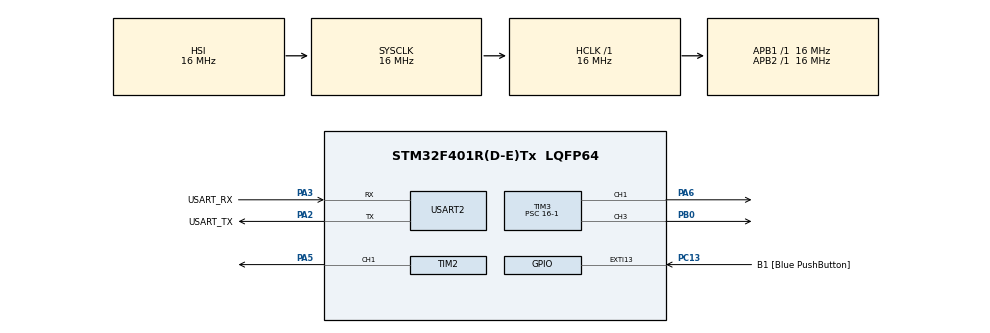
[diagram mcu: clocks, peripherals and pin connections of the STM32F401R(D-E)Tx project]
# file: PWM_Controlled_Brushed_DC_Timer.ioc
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Mcu.Family=STM32F4
Mcu.Name=STM32F401R(D-E)Tx
Mcu.Package=LQFP64
NVIC.PriorityGroup=NVIC_PRIORITYGROUP_4
PA13.GPIO_Label=TMS
PA13.Mode=Trace_Asynchronous_SW
PA13.Signal=SYS_JTMS-SWDIO
PA14.GPIO_Label=TCK
PA14.Mode=Trace_Asynchronous_SW
PA14.Signal=SYS_JTCK-SWCLK
PA2.GPIO_Label=USART_TX
PA2.GPIO_Mode=GPIO_MODE_AF_PP
PA2.GPIO_PuPd=GPIO_NOPULL
PA2.GPIO_Speed=GPIO_SPEED_FREQ_LOW
PA2.Mode=Asynchronous
PA2.Signal=USART2_TX
PA3.GPIO_Label=USART_RX
PA3.GPIO_Mode=GPIO_MODE_AF_PP
PA3.GPIO_PuPd=GPIO_NOPULL
PA3.GPIO_Speed=GPIO_SPEED_FREQ_LOW
PA3.Mode=Asynchronous
PA3.Signal=USART2_RX
PA5.Signal=S_TIM2_CH1_ETR
PA6.Signal=S_TIM3_CH1
PB0.Signal=S_TIM3_CH3
PB3.GPIO_Label=SWO
PB3.Mode=Trace_Asynchronous_SW
PB3.Signal=SYS_JTDO-SWO
PC13-ANTI_TAMP.GPIO_Label=B1 [Blue PushButton]
PC13-ANTI_TAMP.GPIO_ModeDefaultEXTI=GPIO_MODE_IT_FALLING
PC13-ANTI_TAMP.GPIO_PuPd=GPIO_NOPULL
PC13-ANTI_TAMP.Signal=GPXTI13
PC14-OSC32_IN.Mode=LSE-External-Oscillator
PC14-OSC32_IN.Signal=RCC_OSC32_IN
PC15-OSC32_OUT.Mode=LSE-External-Oscillator
PC15-OSC32_OUT.Signal=RCC_OSC32_OUT
PH0\ -\ OSC_IN.Mode=HSE-External-Clock-Source
PH0\ -\ OSC_IN.Signal=RCC_OSC_IN
PH1\ -\ OSC_OUT.Mode=HSE-External-Clock-Source
PH1\ -\ OSC_OUT.Signal=RCC_OSC_OUT
ProjectManager.HeapSize=0x200
ProjectManager.StackSize=0x400
ProjectManager.TargetToolchain=STM32CubeIDE
RCC.48MHZClocksFreq_Value=48000000
RCC.AHBFreq_Value=16000000
RCC.APB1Freq_Value=16000000
RCC.APB1TimFreq_Value=16000000
RCC.APB2Freq_Value=16000000
RCC.APB2TimFreq_Value=16000000
RCC.CortexFreq_Value=16000000
RCC.HCLKFreq_Value=16000000
RCC.HSE_VALUE=8000000
RCC.HSI_VALUE=16000000
RCC.PLLN=336
RCC.PLLP=RCC_PLLP_DIV4
RCC.PLLQ=7
RCC.SYSCLKFreq_VALUE=16000000
RCC.VCOOutputFreq_Value=336000000
SH.S_TIM2_CH1_ETR.0=TIM2_CH1,PWM Generation1 CH1
SH.S_TIM3_CH1.0=TIM3_CH1,PWM Generation1 CH1
SH.S_TIM3_CH3.0=TIM3_CH3,PWM Generation3 CH3
TIM2.AutoReloadPreload=TIM_AUTORELOAD_PRELOAD_ENABLE
TIM2.Channel-PWM\ Generation1\ CH1=TIM_CHANNEL_1
TIM2.Period=500-1
TIM2.Prescaler=16000-1
TIM2.Pulse-PWM\ Generation1\ CH1=250-1
TIM3.AutoReloadPreload=TIM_AUTORELOAD_PRELOAD_ENABLE
TIM3.Channel-PWM\ Generation1\ CH1=TIM_CHANNEL_1
TIM3.Channel-PWM\ Generation3\ CH3=TIM_CHANNEL_3
TIM3.Period=2000-1
TIM3.Prescaler=16-1
TIM3.Pulse-PWM\ Generation1\ CH1=1200-1
USART2.VirtualMode=VM_ASYNC
VP_TIM2_VS_ClockSourceINT.Mode=Internal
VP_TIM3_VS_ClockSourceINT.Mode=Internal
board=NUCLEO-F401RE

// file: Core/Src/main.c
/* USER CODE BEGIN Header */
/**
  ******************************************************************************
  * @file           : main.c
  * @brief          : Main program body
  ******************************************************************************
  * @attention
  *
  * Copyright (c) 2025 STMicroelectronics.
  * All rights reserved.
  *
  * This software is licensed under terms that can be found in the LICENSE file
  * in the root directory of this software component.
  * If no LICENSE file comes with this software, it is provided AS-IS.
  *
  ******************************************************************************
  */
/* USER CODE END Header */
#include "main.h"

TIM_HandleTypeDef htim2;
TIM_HandleTypeDef htim3;

UART_HandleTypeDef huart2;

void SystemClock_Config(void);
static void MX_GPIO_Init(void);
static void MX_USART2_UART_Init(void);
static void MX_TIM2_Init(void);
static void MX_TIM3_Init(void);

int main(void)
{

  /* MCU Configuration--------------------------------------------------------*/

  /* Reset of all peripherals, Initializes the Flash interface and the Systick. */
  HAL_Init();

  /* Configure the system clock */
  SystemClock_Config();

  /* Initialize all configured peripherals */
  MX_GPIO_Init();
  MX_USART2_UART_Init();
  MX_TIM2_Init();
  MX_TIM3_Init();
  /* USER CODE BEGIN 2 */
  HAL_TIM_Base_Init(&htim3);
  HAL_TIM_PWM_Start(&htim3, TIM_CHANNEL_1);
  HAL_TIM_PWM_Start(&htim3, TIM_CHANNEL_3);
  TIM3->PSC = 0;	// PSC register to 0 for no scaling
  TIM3->ARR = 60000;		//ARR register to 60000 for long period (limit of 60000)
  TIM3->CCR1 = 0;
  TIM3->CCR3 = 0;
  int TIM3_CH1_DCVAL = 0;
  int TIM3_CH3_DCVAL = 0;

  /* USER CODE END 2 */

  /* Infinite loop */
  /* USER CODE BEGIN WHILE */
  while (1)
  {
	 while(TIM3_CH1_DCVAL < 60000) {
		 	 TIM3_CH1_DCVAL += (50);
		 	 TIM3->CCR1 = TIM3_CH1_DCVAL;
		 	 HAL_Delay(1);
	 }
	 HAL_Delay(5000);
	 while(TIM3_CH1_DCVAL > 0) {
		 	 TIM3_CH1_DCVAL -= (50);
		 	 TIM3->CCR1 = TIM3_CH1_DCVAL;
		 	 HAL_Delay(1);
	 }
	 HAL_Delay(5000);
	 TIM3->CCR1 = 30000;
	 TIM3->CCR3 = 0;
	 while(TIM3_CH3_DCVAL < 60000) {
	 	 	 TIM3_CH3_DCVAL += (50);
	 	 	 TIM3->CCR3 = TIM3_CH3_DCVAL;
	 	 	 HAL_Delay(1);
	 }
	  HAL_Delay(5000);
	  while(TIM3_CH3_DCVAL > 0) {
	 	 	 TIM3_CH3_DCVAL -= (50);
	 	 	 TIM3->CCR3 = TIM3_CH3_DCVAL;
	 	 	 HAL_Delay(1);
	  }
	  HAL_Delay(5000);
	  TIM3->CCR1 = 0;
	  TIM3->CCR3 = 30000;

    /* USER CODE END WHILE */

  }
}

void SystemClock_Config(void)
{
  RCC_OscInitTypeDef RCC_OscInitStruct = {0};
  RCC_ClkInitTypeDef RCC_ClkInitStruct = {0};

  /** Configure the main internal regulator output voltage
  */
  __HAL_RCC_PWR_CLK_ENABLE();
  __HAL_PWR_VOLTAGESCALING_CONFIG(PWR_REGULATOR_VOLTAGE_SCALE2);

  /** Initializes the RCC Oscillators according to the specified parameters
  * in the RCC_OscInitTypeDef structure.
  */
  RCC_OscInitStruct.OscillatorType = RCC_OSCILLATORTYPE_HSI;
  RCC_OscInitStruct.HSIState = RCC_HSI_ON;
  RCC_OscInitStruct.HSICalibrationValue = RCC_HSICALIBRATION_DEFAULT;
  RCC_OscInitStruct.PLL.PLLState = RCC_PLL_NONE;
  if (HAL_RCC_OscConfig(&RCC_OscInitStruct) != HAL_OK)
  {
    Error_Handler();
  }

  /** Initializes the CPU, AHB and APB buses clocks
  */
  RCC_ClkInitStruct.ClockType = RCC_CLOCKTYPE_HCLK|RCC_CLOCKTYPE_SYSCLK
                              |RCC_CLOCKTYPE_PCLK1|RCC_CLOCKTYPE_PCLK2;
  RCC_ClkInitStruct.SYSCLKSource = RCC_SYSCLKSOURCE_HSI;
  RCC_ClkInitStruct.AHBCLKDivider = RCC_SYSCLK_DIV1;
  RCC_ClkInitStruct.APB1CLKDivider = RCC_HCLK_DIV1;
  RCC_ClkInitStruct.APB2CLKDivider = RCC_HCLK_DIV1;

  if (HAL_RCC_ClockConfig(&RCC_ClkInitStruct, FLASH_LATENCY_0) != HAL_OK)
  {
    Error_Handler();
  }
}

static void MX_TIM2_Init(void)
{

  TIM_ClockConfigTypeDef sClockSourceConfig = {0};
  TIM_MasterConfigTypeDef sMasterConfig = {0};
  TIM_OC_InitTypeDef sConfigOC = {0};

  htim2.Instance = TIM2;
  htim2.Init.Prescaler = 16000-1;
  htim2.Init.CounterMode = TIM_COUNTERMODE_UP;
  htim2.Init.Period = 500-1;
  htim2.Init.ClockDivision = TIM_CLOCKDIVISION_DIV1;
  htim2.Init.AutoReloadPreload = TIM_AUTORELOAD_PRELOAD_ENABLE;
  if (HAL_TIM_Base_Init(&htim2) != HAL_OK)
  {
    Error_Handler();
  }
  sClockSourceConfig.ClockSource = TIM_CLOCKSOURCE_INTERNAL;
  if (HAL_TIM_ConfigClockSource(&htim2, &sClockSourceConfig) != HAL_OK)
  {
    Error_Handler();
  }
  if (HAL_TIM_PWM_Init(&htim2) != HAL_OK)
  {
    Error_Handler();
  }
  sMasterConfig.MasterOutputTrigger = TIM_TRGO_RESET;
  sMasterConfig.MasterSlaveMode = TIM_MASTERSLAVEMODE_DISABLE;
  if (HAL_TIMEx_MasterConfigSynchronization(&htim2, &sMasterConfig) != HAL_OK)
  {
    Error_Handler();
  }
  sConfigOC.OCMode = TIM_OCMODE_PWM1;
  sConfigOC.Pulse = 250-1;
  sConfigOC.OCPolarity = TIM_OCPOLARITY_HIGH;
  sConfigOC.OCFastMode = TIM_OCFAST_DISABLE;
  if (HAL_TIM_PWM_ConfigChannel(&htim2, &sConfigOC, TIM_CHANNEL_1) != HAL_OK)
  {
    Error_Handler();
  }
  HAL_TIM_MspPostInit(&htim2);

}

static void MX_TIM3_Init(void)
{

  TIM_ClockConfigTypeDef sClockSourceConfig = {0};
  TIM_MasterConfigTypeDef sMasterConfig = {0};
  TIM_OC_InitTypeDef sConfigOC = {0};

  htim3.Instance = TIM3;
  htim3.Init.Prescaler = 16-1;
  htim3.Init.CounterMode = TIM_COUNTERMODE_UP;
  htim3.Init.Period = 2000-1;
  htim3.Init.ClockDivision = TIM_CLOCKDIVISION_DIV1;
  htim3.Init.AutoReloadPreload = TIM_AUTORELOAD_PRELOAD_ENABLE;
  if (HAL_TIM_Base_Init(&htim3) != HAL_OK)
  {
    Error_Handler();
  }
  sClockSourceConfig.ClockSource = TIM_CLOCKSOURCE_INTERNAL;
  if (HAL_TIM_ConfigClockSource(&htim3, &sClockSourceConfig) != HAL_OK)
  {
    Error_Handler();
  }
  if (HAL_TIM_PWM_Init(&htim3) != HAL_OK)
  {
    Error_Handler();
  }
  sMasterConfig.MasterOutputTrigger = TIM_TRGO_RESET;
  sMasterConfig.MasterSlaveMode = TIM_MASTERSLAVEMODE_DISABLE;
  if (HAL_TIMEx_MasterConfigSynchronization(&htim3, &sMasterConfig) != HAL_OK)
  {
    Error_Handler();
  }
  sConfigOC.OCMode = TIM_OCMODE_PWM1;
  sConfigOC.Pulse = 1200-1;
  sConfigOC.OCPolarity = TIM_OCPOLARITY_HIGH;
  sConfigOC.OCFastMode = TIM_OCFAST_DISABLE;
  if (HAL_TIM_PWM_ConfigChannel(&htim3, &sConfigOC, TIM_CHANNEL_1) != HAL_OK)
  {
    Error_Handler();
  }
  sConfigOC.Pulse = 0;
  if (HAL_TIM_PWM_ConfigChannel(&htim3, &sConfigOC, TIM_CHANNEL_3) != HAL_OK)
  {
    Error_Handler();
  }
  HAL_TIM_MspPostInit(&htim3);

}

static void MX_USART2_UART_Init(void)
{

  huart2.Instance = USART2;
  huart2.Init.BaudRate = 115200;
  huart2.Init.WordLength = UART_WORDLENGTH_8B;
  huart2.Init.StopBits = UART_STOPBITS_1;
  huart2.Init.Parity = UART_PARITY_NONE;
  huart2.Init.Mode = UART_MODE_TX_RX;
  huart2.Init.HwFlowCtl = UART_HWCONTROL_NONE;
  huart2.Init.OverSampling = UART_OVERSAMPLING_16;
  if (HAL_UART_Init(&huart2) != HAL_OK)
  {
    Error_Handler();
  }

}

static void MX_GPIO_Init(void)
{
  GPIO_InitTypeDef GPIO_InitStruct = {0};

  /* GPIO Ports Clock Enable */
  __HAL_RCC_GPIOC_CLK_ENABLE();
  __HAL_RCC_GPIOH_CLK_ENABLE();
  __HAL_RCC_GPIOA_CLK_ENABLE();
  __HAL_RCC_GPIOB_CLK_ENABLE();

  /*Configure GPIO pin : B1_Pin */
  GPIO_InitStruct.Pin = B1_Pin;
  GPIO_InitStruct.Mode = GPIO_MODE_IT_FALLING;
  GPIO_InitStruct.Pull = GPIO_NOPULL;
  HAL_GPIO_Init(B1_GPIO_Port, &GPIO_InitStruct);

}

void Error_Handler(void)
{
  __disable_irq();
  while (1)
  {
  }
}
